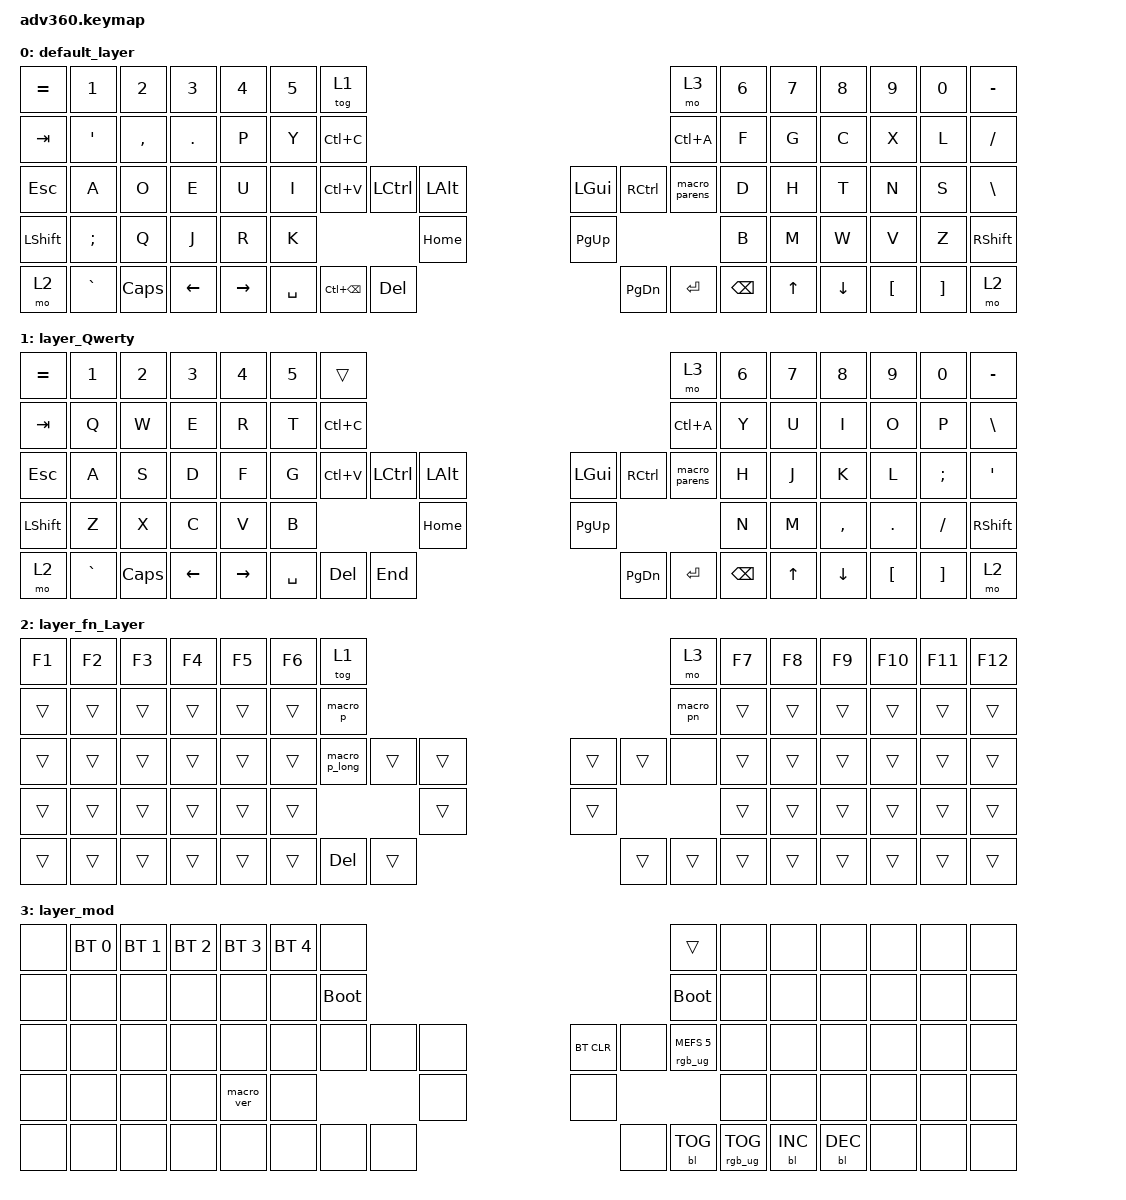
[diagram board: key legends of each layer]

/*
 * Copyright (c) 2020 The ZMK Contributors
 *
 * SPDX-License-Identifier: MIT
 */


/* THIS FILE WAS GENERATED!
 *
 * This file was generated automatically. You may or may not want to
 * edit it directly.
 */

#include <behaviors.dtsi>
#include <dt-bindings/zmk/keys.h>
#include <dt-bindings/zmk/bt.h>
#include <dt-bindings/zmk/rgb.h>
#include <dt-bindings/zmk/backlight.h>

/ {
  behaviors {
    #include "macros.dtsi"
    #include "version.dtsi"

    hm: homerow_mods {
        compatible = "zmk,behavior-hold-tap";
        label = "HOMEROW_MODS";
        #binding-cells = <2>;
        tapping-term-ms = <200>;
        quick_tap_ms = <175>;
        flavor = "tap-preferred";
        bindings = <&kp>, <&kp>;
    };
  };

    keymap {
        compatible = "zmk,keymap";


        default_layer {
            bindings = <
 &kp EQUAL     &kp N1     &kp N2    &kp N3     &kp N4  &kp N5               &tog 1                                                                          &mo 3  &kp N6  &kp N7    &kp N8    &kp N9    &kp N0  &kp MINUS
   &kp TAB    &kp SQT  &kp COMMA   &kp DOT      &kp P   &kp Y            &kp LC(C)                                                                      &kp LC(A)   &kp F   &kp G     &kp C     &kp X     &kp L   &kp FSLH
   &kp ESC      &kp A      &kp O     &kp E      &kp U   &kp I            &kp LC(V)     &kp LCTRL    &kp LALT                   &kp LGUI  &kp RCTRL  &macro_parens   &kp D   &kp H     &kp T     &kp N     &kp S   &kp BSLH
 &kp LSHFT   &kp SEMI      &kp Q     &kp J      &kp R   &kp K                                       &kp HOME                  &kp PG_UP                             &kp B   &kp M     &kp W     &kp V     &kp Z  &kp RSHFT
     &mo 2  &kp GRAVE   &kp CAPS  &kp LEFT  &kp RIGHT                    &kp SPACE  &kp LC(BSPC)  &kp DELETE                  &kp PG_DN  &kp ENTER  &kp BACKSPACE          &kp UP  &kp DOWN  &kp LBKT  &kp RBKT      &mo 2
            >;
        };

        layer_Qwerty {
            bindings = <
 &kp EQUAL     &kp N1    &kp N2    &kp N3     &kp N4  &kp N5               &trans                                                                     &mo 3  &kp N6  &kp N7     &kp N8            &kp N9    &kp N0  &kp MINUS
   &kp TAB      &kp Q     &kp W     &kp E      &kp R   &kp T            &kp LC(C)                                                                 &kp LC(A)   &kp Y   &kp U      &kp I             &kp O     &kp P   &kp BSLH
   &kp ESC      &kp A     &kp S     &kp D      &kp F   &kp G            &kp LC(V)  &kp LCTRL  &kp LALT                   &kp LGUI  &kp RCTRL  &macro_parens   &kp H   &kp J      &kp K             &kp L  &kp SEMI    &kp SQT
 &kp LSHFT      &kp Z     &kp X     &kp C      &kp V   &kp B                                  &kp HOME                  &kp PG_UP                             &kp N   &kp M  &kp COMMA           &kp DOT  &kp FSLH  &kp RSHFT
     &mo 2  &kp GRAVE  &kp CAPS  &kp LEFT  &kp RIGHT                    &kp SPACE    &kp DEL   &kp END                  &kp PG_DN  &kp ENTER  &kp BACKSPACE          &kp UP   &kp DOWN  &kp LEFT_BRACKET  &kp RBKT      &mo 2
            >;
        };

        layer_fn_Layer {
            bindings = <
 &kp F1  &kp F2  &kp F3  &kp F4  &kp F5  &kp F6                   &tog 1                                                       &mo 3  &kp F7  &kp F8  &kp F9  &kp F10  &kp F11  &kp F12
 &trans  &trans  &trans  &trans  &trans  &trans                 &macro_p                                                   &macro_pn  &trans  &trans  &trans   &trans   &trans   &trans
 &trans  &trans  &trans  &trans  &trans  &trans            &macro_p_long   &trans  &trans                  &trans  &trans      &none  &trans  &trans  &trans   &trans   &trans   &trans
 &trans  &trans  &trans  &trans  &trans  &trans                                    &trans                  &trans                     &trans  &trans  &trans   &trans   &trans   &trans
 &trans  &trans  &trans  &trans  &trans                           &trans  &kp DEL  &trans                  &trans  &trans     &trans          &trans  &trans   &trans   &trans   &trans
            >;
        };

        layer_mod {
            bindings = <
  &none  &bt BT_SEL 0  &bt BT_SEL 1  &bt BT_SEL 2  &bt BT_SEL 3  &bt BT_SEL 4                  &none                                                                          &trans   &none       &none       &none   &none   &none   &none
  &none         &none         &none         &none         &none         &none            &bootloader                                                                     &bootloader   &none       &none       &none   &none   &none   &none
  &none         &none         &none         &none         &none         &none                  &none   &none   &none                  &bt BT_CLR       &none  &rgb_ug RGB_MEFS_CMD 5   &none       &none       &none   &none   &none   &none
  &none         &none         &none         &none    &macro_ver         &none                                  &none                       &none                                       &none       &none       &none   &none   &none   &none
  &none         &none         &none         &none         &none                                &none   &none   &none                       &none  &bl BL_TOG         &rgb_ug RGB_TOG          &bl BL_INC  &bl BL_DEC   &none   &none   &none
            >;
        };

    };
};
